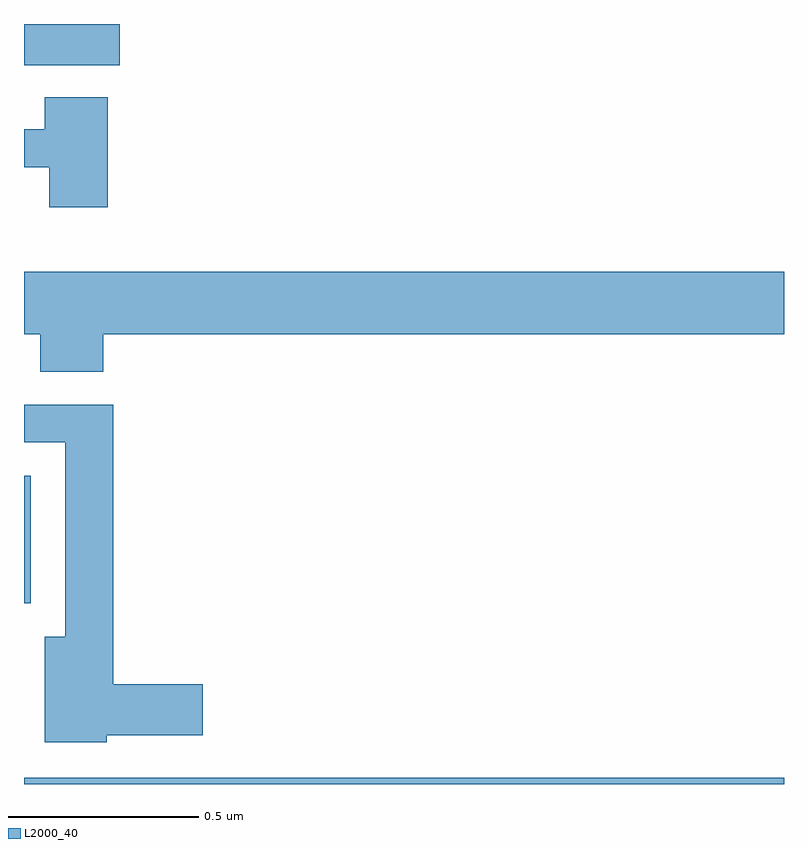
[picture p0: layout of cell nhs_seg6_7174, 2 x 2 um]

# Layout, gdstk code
import gdstk
lib = gdstk.Library(unit=1e-6, precision=1e-09)
def R(c, l, rs):  # rectangles x0, y0, x1, y1
    for r in rs: c.add(gdstk.rectangle(r[:2], r[2:], *l))
def P(c, l, *ps):  # polygons
    for p in ps: c.add(gdstk.Polygon(p, *l))
L2000_40 = (2000, 40)

nhs_seg6_7174 = lib.new_cell('nhs_seg6_7174')
R(nhs_seg6_7174, L2000_40, [(205,931.5,207,931.516), (205,931.976,205.018,932.311), (205,933.392,205.252,933.5)])
P(nhs_seg6_7174, L2000_40, [(205.22,933.307),(205.055,933.307),(205.055,933.223),(205,933.223),(205,933.123),(205.067,933.123),(205.067,933.018),(205.22,933.018)],
  [(205.208,932.684),(207,932.684),(207,932.848),(205,932.848),(205,932.684),(205.043,932.684),(205.043,932.585),(205.208,932.585)],
  [(205.218,931.628),(205.471,931.628),(205.471,931.763),(205.235,931.763),(205.235,932.498),(205,932.498),(205,932.4),(205.109,932.4),(205.109,931.888),(205.055,931.888),(205.055,931.61),(205.218,931.61)])

lib.write_gds('nhs_seg6_7174.gds')
